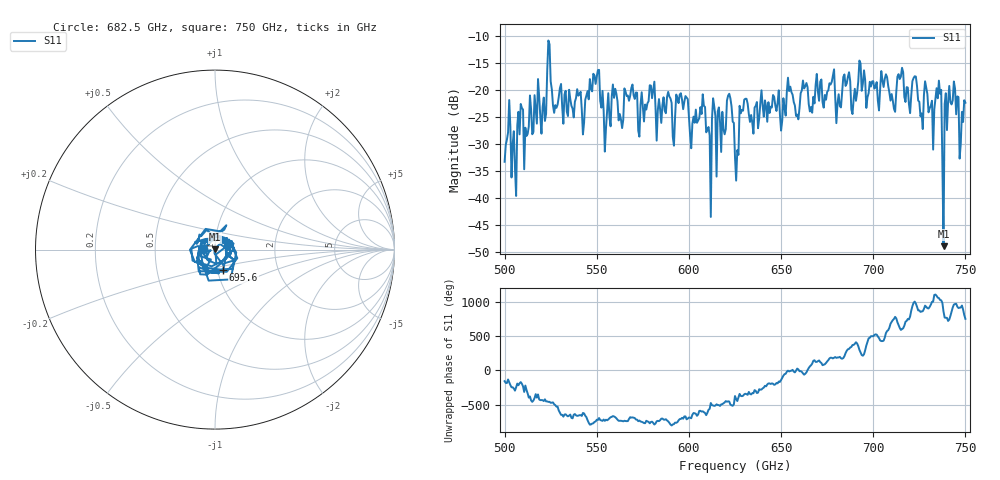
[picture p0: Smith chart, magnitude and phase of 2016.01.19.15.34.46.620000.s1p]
!Created with skrf (http://scikit-rf.org).
# GHz S RI R 50.0
!freq ReS11 ImS11
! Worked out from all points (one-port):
!   401 points, 500 GHz to 750 GHz, reference 50 ohm
!   lowest |S11| = -49.0 dB at 738.1 GHz (marker M1), VSWR 1.01, Z = 49.7 + j0.249 ohm
!   |S11| at or under -10 dB: start of sweep to end of sweep
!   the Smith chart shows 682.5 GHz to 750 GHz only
!   S11 on the Smith chart (normalised r, x): 682.5 GHz: 0.87, +0.01; 695.6 GHz: 1.07, -0.25; 750 GHz: 1.14, +0.08
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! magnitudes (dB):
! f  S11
! 500 GHz  -33.3
! 508.8 GHz  -22.6
! 521.2 GHz  -21.4
! 524.4 GHz  -11.5
! 526.9 GHz  -24.2
! 531.2 GHz  -23.2
! 543.1 GHz  -26.0
! 550 GHz  -17.5
! 553.8 GHz  -23.9
! 559.4 GHz  -21.5
! 562.5 GHz  -24.5
! 593.8 GHz  -21.5
! 601.9 GHz  -26.3
! 607.5 GHz  -20.8
! 610.6 GHz  -26.9
! 621.9 GHz  -20.7
! 625 GHz  -32.5
! 630.6 GHz  -21.6
! 656.2 GHz  -20.9
! 682.5 GHz  -23.2
! 687.5 GHz  -18.3
! 695.6 GHz  -18.2
! 718.8 GHz  -19.6
! 735.6 GHz  -18.3
! 738.1 GHz  -49.0
! 742.5 GHz  -22.7
! 747.5 GHz  -29.9
! 750 GHz  -22.4
